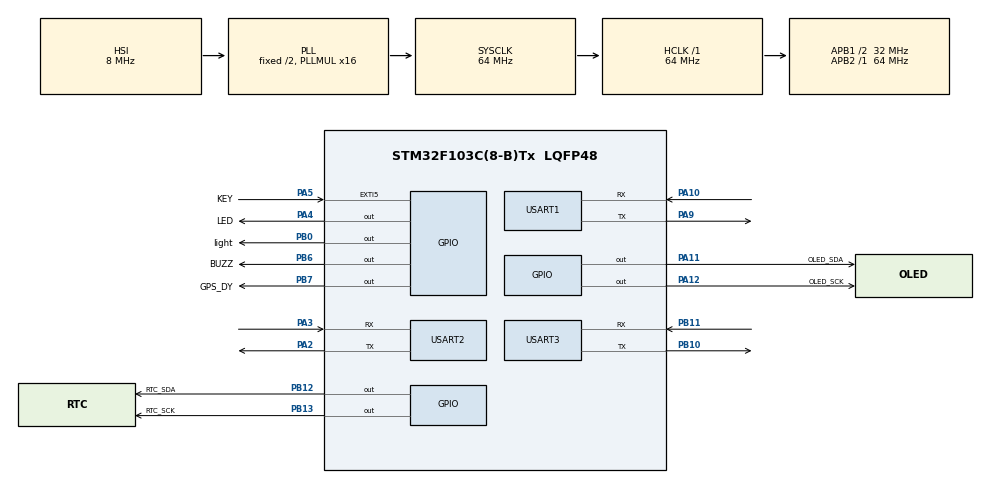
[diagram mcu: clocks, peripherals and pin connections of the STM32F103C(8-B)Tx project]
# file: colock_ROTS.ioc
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FREERTOS.Tasks01=defaultTask,0,128,StartDefaultTask,Default,NULL,Dynamic,NULL,NULL;LSQ_myTask02,-2,128,LSQ_StartTask02,Default,NULL,Dynamic,NULL,NULL
Mcu.Family=STM32F1
Mcu.Name=STM32F103C(8-B)Tx
Mcu.Package=LQFP48
NVIC.EXTI9_5_IRQn=true\:5\:0\:false\:false\:true\:true\:true\:true\:true
NVIC.PriorityGroup=NVIC_PRIORITYGROUP_4
NVIC.USART2_IRQn=true\:5\:0\:false\:false\:true\:true\:true\:true\:true
PA10.Mode=Asynchronous
PA10.Signal=USART1_RX
PA11.GPIO_Label=OLED_SDA
PA11.Signal=GPIO_Output
PA12.GPIO_Label=OLED_SCK
PA12.Signal=GPIO_Output
PA2.Mode=Asynchronous
PA2.Signal=USART2_TX
PA3.Mode=Asynchronous
PA3.Signal=USART2_RX
PA4.GPIO_Label=LED
PA4.Signal=GPIO_Output
PA5.GPIO_Label=KEY
PA5.GPIO_ModeDefaultEXTI=GPIO_MODE_IT_FALLING
PA5.GPIO_PuPd=GPIO_PULLUP
PA5.Signal=GPXTI5
PA9.Mode=Asynchronous
PA9.Signal=USART1_TX
PB0.GPIO_Label=light
PB0.Signal=GPIO_Output
PB10.Mode=Asynchronous
PB10.Signal=USART3_TX
PB11.Mode=Asynchronous
PB11.Signal=USART3_RX
PB12.GPIO_Label=RTC_SDA
PB12.Signal=GPIO_Output
PB13.GPIO_Label=RTC_SCK
PB13.Signal=GPIO_Output
PB6.GPIO_Label=BUZZ
PB6.Signal=GPIO_Output
PB7.GPIO_Label=GPS_DY
PB7.Signal=GPIO_Output
ProjectManager.HeapSize=0x200
ProjectManager.StackSize=0x400
ProjectManager.TargetToolchain=MDK-ARM V5.32
RCC.AHBFreq_Value=64000000
RCC.APB1CLKDivider=RCC_HCLK_DIV2
RCC.APB1Freq_Value=32000000
RCC.APB1TimFreq_Value=64000000
RCC.APB2Freq_Value=64000000
RCC.APB2TimFreq_Value=64000000
RCC.HCLKFreq_Value=64000000
RCC.PLLMUL=RCC_PLL_MUL16
RCC.SYSCLKFreq_VALUE=64000000
RCC.SYSCLKSource=RCC_SYSCLKSOURCE_PLLCLK
RCC.USBFreq_Value=64000000
USART1.VirtualMode=VM_ASYNC
USART2.VirtualMode=VM_ASYNC
USART3.VirtualMode=VM_ASYNC
VP_FREERTOS_VS_CMSIS_V1.Mode=CMSIS_V1
VP_SYS_VS_ND.Mode=No_Debug
board=custom

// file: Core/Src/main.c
/* USER CODE BEGIN Header */
/**
  ******************************************************************************
  * @file           : main.c
  * @brief          : Main program body
  ******************************************************************************
  * @attention
  *
  * Copyright (c) 2022 STMicroelectronics.
  * All rights reserved.
  *
  * This software is licensed under terms that can be found in the LICENSE file
  * in the root directory of this software component.
  * If no LICENSE file comes with this software, it is provided AS-IS.
  *
  ******************************************************************************
  */
/* USER CODE END Header */
#include "main.h"
#include "cmsis_os.h"
#include "usart.h"
#include "gpio.h"

void SystemClock_Config(void);
void MX_FREERTOS_Init(void);
/* USER CODE BEGIN PFP */
void vTask1(void *pvPaarameters);
/* USER CODE END PFP */

/* USER CODE BEGIN 0 */

//重定向
#include "stdio.h"
int fputc(int ch, FILE *f)
{
  HAL_UART_Transmit(&huart1,(uint8_t *)&ch,1,0xFFFF);
  return ch;
}
//使用printf

/* USER CODE END 0 */

int main(void)
{

  /* MCU Configuration--------------------------------------------------------*/

  /* Reset of all peripherals, Initializes the Flash interface and the Systick. */
  HAL_Init();

  /* Configure the system clock */
  SystemClock_Config();

  /* Initialize all configured peripherals */
  MX_GPIO_Init();
  MX_USART1_UART_Init();
  MX_USART2_UART_Init();
  MX_USART3_UART_Init();
  /* USER CODE BEGIN 2 */
	OLED_init();//初始化
	OLED_Clear();//清屏

	//将蓝色LED灯关掉
	HAL_GPIO_WritePin(GPIOA,GPIO_PIN_4,GPIO_PIN_SET);

	//设置时间
	//DS3231_setDate(22,11,1);
	//DS3231_setTime(13,59,01);

	xTaskCreate(vTask1,"Task 1",500,NULL,1,NULL);//创建任务
	vTaskStartScheduler();//启动实时内核处理。在调用之后，内核已经控制执行的任务。

	//HAL_GPIO_WritePin(GPIOA,GPIO_PIN_4,GPIO_PIN_SET);//GPIO_PIN_RESET  GPIO_PIN_SET
  /* USER CODE END 2 */

  /* Call init function for freertos objects (in freertos.c) */
  MX_FREERTOS_Init();

  /* Start scheduler */
  osKernelStart();

  /* We should never get here as control is now taken by the scheduler */
  /* Infinite loop */
  while (1)
  {

  }
}

void SystemClock_Config(void)
{
  RCC_OscInitTypeDef RCC_OscInitStruct = {0};
  RCC_ClkInitTypeDef RCC_ClkInitStruct = {0};

  /** Initializes the RCC Oscillators according to the specified parameters
  * in the RCC_OscInitTypeDef structure.
  */
  RCC_OscInitStruct.OscillatorType = RCC_OSCILLATORTYPE_HSI;
  RCC_OscInitStruct.HSIState = RCC_HSI_ON;
  RCC_OscInitStruct.HSICalibrationValue = RCC_HSICALIBRATION_DEFAULT;
  RCC_OscInitStruct.PLL.PLLState = RCC_PLL_ON;
  RCC_OscInitStruct.PLL.PLLSource = RCC_PLLSOURCE_HSI_DIV2;
  RCC_OscInitStruct.PLL.PLLMUL = RCC_PLL_MUL16;
  if (HAL_RCC_OscConfig(&RCC_OscInitStruct) != HAL_OK)
  {
    Error_Handler();
  }

  /** Initializes the CPU, AHB and APB buses clocks
  */
  RCC_ClkInitStruct.ClockType = RCC_CLOCKTYPE_HCLK|RCC_CLOCKTYPE_SYSCLK
                              |RCC_CLOCKTYPE_PCLK1|RCC_CLOCKTYPE_PCLK2;
  RCC_ClkInitStruct.SYSCLKSource = RCC_SYSCLKSOURCE_PLLCLK;
  RCC_ClkInitStruct.AHBCLKDivider = RCC_SYSCLK_DIV1;
  RCC_ClkInitStruct.APB1CLKDivider = RCC_HCLK_DIV2;
  RCC_ClkInitStruct.APB2CLKDivider = RCC_HCLK_DIV1;

  if (HAL_RCC_ClockConfig(&RCC_ClkInitStruct, FLASH_LATENCY_2) != HAL_OK)
  {
    Error_Handler();
  }
}

void Error_Handler(void)
{
  __disable_irq();
  while (1)
  {
  }
}

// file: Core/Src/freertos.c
/* USER CODE BEGIN Header */
/**
  ******************************************************************************
  * File Name          : freertos.c
  * Description        : Code for freertos applications
  ******************************************************************************
  * @attention
  *
  * Copyright (c) 2022 STMicroelectronics.
  * All rights reserved.
  *
  * This software is licensed under terms that can be found in the LICENSE file
  * in the root directory of this software component.
  * If no LICENSE file comes with this software, it is provided AS-IS.
  *
  ******************************************************************************
  */
/* USER CODE END Header */

#include "FreeRTOS.h"
#include "task.h"
#include "main.h"
#include "cmsis_os.h"

/* USER CODE BEGIN Includes */
#include "Transaction.h"
#include "usart.h"
/* USER CODE END Includes */

osThreadId defaultTaskHandle;
osThreadId LSQ_myTask02Handle;

void StartDefaultTask(void const * argument);
void LSQ_StartTask02(void const * argument);

void MX_FREERTOS_Init(void); /* (MISRA C 2004 rule 8.1) */

/* GetIdleTaskMemory prototype (linked to static allocation support) */
void vApplicationGetIdleTaskMemory( StaticTask_t **ppxIdleTaskTCBBuffer, StackType_t **ppxIdleTaskStackBuffer, uint32_t *pulIdleTaskStackSize );

/* USER CODE BEGIN GET_IDLE_TASK_MEMORY */
static StaticTask_t xIdleTaskTCBBuffer;
static StackType_t xIdleStack[configMINIMAL_STACK_SIZE];

void vApplicationGetIdleTaskMemory( StaticTask_t **ppxIdleTaskTCBBuffer, StackType_t **ppxIdleTaskStackBuffer, uint32_t *pulIdleTaskStackSize )
{
  *ppxIdleTaskTCBBuffer = &xIdleTaskTCBBuffer;
  *ppxIdleTaskStackBuffer = &xIdleStack[0];
  *pulIdleTaskStackSize = configMINIMAL_STACK_SIZE;
  /* place for user code */
}
/* USER CODE END GET_IDLE_TASK_MEMORY */

void MX_FREERTOS_Init(void) {

  /* Create the thread(s) */
  /* definition and creation of defaultTask */
  osThreadDef(defaultTask, StartDefaultTask, osPriorityNormal, 0, 128);
  defaultTaskHandle = osThreadCreate(osThread(defaultTask), NULL);

  /* definition and creation of LSQ_myTask02 */
  osThreadDef(LSQ_myTask02, LSQ_StartTask02, osPriorityLow, 0, 128);
  LSQ_myTask02Handle = osThreadCreate(osThread(LSQ_myTask02), NULL);

}

void StartDefaultTask(void const * argument)
{
  for(;;)
  {
    osDelay(1);
  }
}

void LSQ_StartTask02(void const * argument)
{
  /* USER CODE BEGIN LSQ_StartTask02 */
  /* Infinite loop */
  for(;;)
  {
    osDelay(1000);
		//在这里写处理函数
		//HAL_GPIO_TogglePin(GPIOA, GPIO_PIN_4);

  }
  /* USER CODE END LSQ_StartTask02 */
}

/* USER CODE BEGIN Application */

//空闲函数钩子函数,使能位： configUSE_IDLE_HOOK
void vApplicationIdleHook(void){

	//osDelay(500);
	//空闲时干的事

}

void vTask1(void *pvPaarameters){
  for(;;)
  {
    osDelay(800);
		//menu();
		//Screen_saver();//屏保
		//Screen_time();
		//HAL_GPIO_TogglePin(GPS_DY_GPIO_Port, GPS_DY_Pin);
		//HAL_GPIO_TogglePin(BUZZ_GPIO_Port, BUZZ_Pin);
  }
}

//多级屏幕显示

/* USER CODE END Application */
